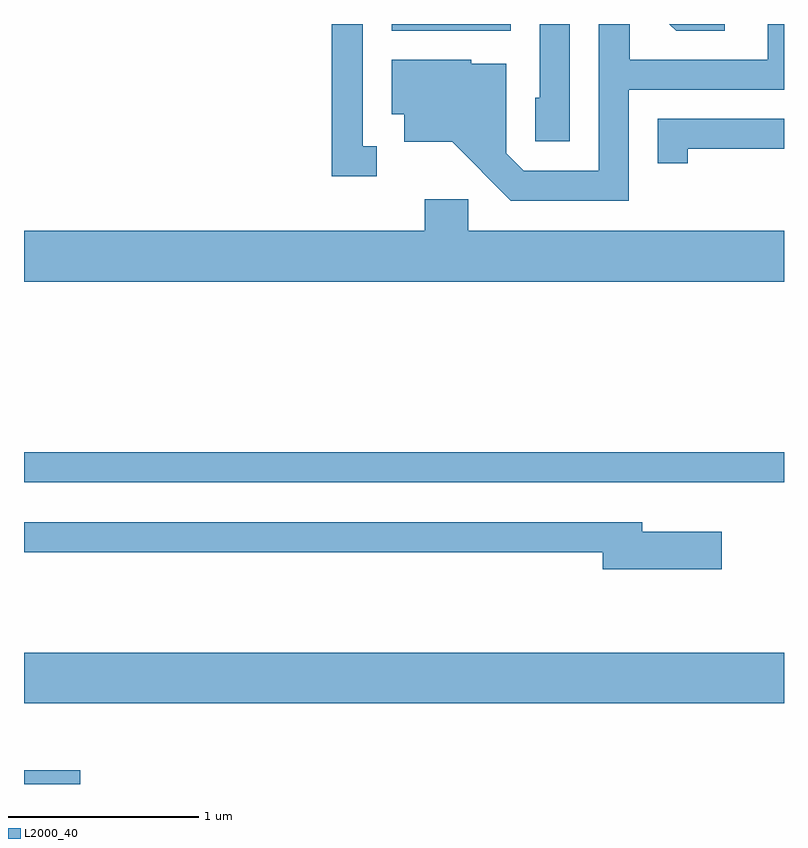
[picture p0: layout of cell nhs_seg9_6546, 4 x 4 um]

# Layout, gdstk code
import gdstk
lib = gdstk.Library(unit=1e-6, precision=1e-09)
def R(c, l, rs):  # rectangles x0, y0, x1, y1
    for r in rs: c.add(gdstk.rectangle(r[:2], r[2:], *l))
def P(c, l, *ps):  # polygons
    for p in ps: c.add(gdstk.Polygon(p, *l))
L2000_40 = (2000, 40)

nhs_seg9_6546 = lib.new_cell('nhs_seg9_6546')
R(nhs_seg9_6546, L2000_40, [(377.611,2062.432,377.908,2062.504), (377.611,2062.856,381.611,2063.124), (377.611,2064.021,381.611,2064.179), (379.546,2066.396,380.174,2066.432)])
P(nhs_seg9_6546, L2000_40, [(379.468,2065.789),(379.394,2065.789),(379.394,2066.432),(379.231,2066.432),(379.231,2065.631),(379.468,2065.631)],
  [(381.299,2066.432),(381.008,2066.432),(381.044,2066.396),(381.299,2066.396)],
  [(380.484,2066.432),(380.326,2066.432),(380.326,2066.044),(380.301,2066.044),(380.301,2065.816),(380.484,2065.816)],
  [(380.794,2066.086),(381.611,2066.086),(381.611,2066.432),(381.526,2066.432),(381.526,2066.244),(380.799,2066.244),(380.799,2066.432),(380.636,2066.432),(380.636,2065.659),(380.242,2065.659),(380.149,2065.751),(380.149,2066.224),(379.964,2066.224),(379.964,2066.244),(379.546,2066.244),(379.546,2065.956),(379.611,2065.956),(379.611,2065.811),(379.864,2065.811),(380.174,2065.501),(380.794,2065.501)],
  [(381.104,2065.776),(381.611,2065.776),(381.611,2065.934),(380.946,2065.934),(380.946,2065.698),(381.104,2065.698)],
  [(381.611,2065.344),(379.949,2065.344),(379.949,2065.509),(379.721,2065.509),(379.721,2065.344),(377.611,2065.344),(377.611,2065.076),(381.611,2065.076)],
  [(381.284,2063.759),(380.864,2063.759),(380.864,2063.809),(377.611,2063.809),(377.611,2063.651),(380.656,2063.651),(380.656,2063.561),(381.284,2063.561)])

lib.write_gds('nhs_seg9_6546.gds')
